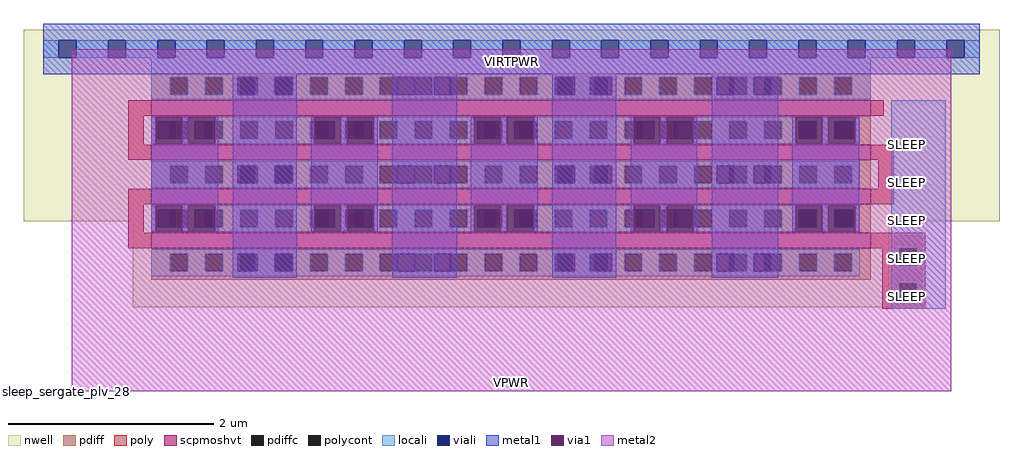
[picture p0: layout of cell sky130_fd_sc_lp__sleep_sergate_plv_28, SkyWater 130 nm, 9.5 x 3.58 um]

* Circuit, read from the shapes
.subckt sky130_fd_sc_lp__sleep_sergate_plv_28 VIRTPWR VPWR SLEEP VPB
XM1 VPWR SLEEP VIRTPWR VPB sky130_fd_pr__pfet_01v8_hvt w=7 l=0.15 m=4
.ends

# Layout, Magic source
magic
tech sky130A
magscale 1 2
<< nwell >>
rect -38 331 1862 704
rect 175 163 1647 331
<< scpmoshvt >>
rect 211 536 1611 566
rect 211 450 1611 480
rect 211 364 1611 394
rect 211 278 1611 308
<< pdiff >>
rect 211 611 1611 619
rect 211 577 248 611
rect 282 577 316 611
rect 350 577 384 611
rect 418 577 452 611
rect 486 577 520 611
rect 554 577 588 611
rect 622 577 656 611
rect 690 577 724 611
rect 758 577 792 611
rect 826 577 860 611
rect 894 577 928 611
rect 962 577 996 611
rect 1030 577 1064 611
rect 1098 577 1132 611
rect 1166 577 1200 611
rect 1234 577 1268 611
rect 1302 577 1336 611
rect 1370 577 1404 611
rect 1438 577 1472 611
rect 1506 577 1540 611
rect 1574 577 1611 611
rect 211 566 1611 577
rect 211 525 1611 536
rect 211 491 248 525
rect 282 491 316 525
rect 350 491 384 525
rect 418 491 452 525
rect 486 491 520 525
rect 554 491 588 525
rect 622 491 656 525
rect 690 491 724 525
rect 758 491 792 525
rect 826 491 860 525
rect 894 491 928 525
rect 962 491 996 525
rect 1030 491 1064 525
rect 1098 491 1132 525
rect 1166 491 1200 525
rect 1234 491 1268 525
rect 1302 491 1336 525
rect 1370 491 1404 525
rect 1438 491 1472 525
rect 1506 491 1540 525
rect 1574 491 1611 525
rect 211 480 1611 491
rect 211 439 1611 450
rect 211 405 248 439
rect 282 405 316 439
rect 350 405 384 439
rect 418 405 452 439
rect 486 405 520 439
rect 554 405 588 439
rect 622 405 656 439
rect 690 405 724 439
rect 758 405 792 439
rect 826 405 860 439
rect 894 405 928 439
rect 962 405 996 439
rect 1030 405 1064 439
rect 1098 405 1132 439
rect 1166 405 1200 439
rect 1234 405 1268 439
rect 1302 405 1336 439
rect 1370 405 1404 439
rect 1438 405 1472 439
rect 1506 405 1540 439
rect 1574 405 1611 439
rect 211 394 1611 405
rect 211 353 1611 364
rect 211 319 248 353
rect 282 319 316 353
rect 350 319 384 353
rect 418 319 452 353
rect 486 319 520 353
rect 554 319 588 353
rect 622 319 656 353
rect 690 319 724 353
rect 758 319 792 353
rect 826 319 860 353
rect 894 319 928 353
rect 962 319 996 353
rect 1030 319 1064 353
rect 1098 319 1132 353
rect 1166 319 1200 353
rect 1234 319 1268 353
rect 1302 319 1336 353
rect 1370 319 1404 353
rect 1438 319 1472 353
rect 1506 319 1540 353
rect 1574 319 1611 353
rect 211 308 1611 319
rect 211 267 1611 278
rect 211 233 248 267
rect 282 233 316 267
rect 350 233 384 267
rect 418 233 452 267
rect 486 233 520 267
rect 554 233 588 267
rect 622 233 656 267
rect 690 233 724 267
rect 758 233 792 267
rect 826 233 860 267
rect 894 233 928 267
rect 962 233 996 267
rect 1030 233 1064 267
rect 1098 233 1132 267
rect 1166 233 1200 267
rect 1234 233 1268 267
rect 1302 233 1336 267
rect 1370 233 1404 267
rect 1438 233 1472 267
rect 1506 233 1540 267
rect 1574 233 1611 267
rect 211 217 1611 233
<< pdiffc >>
rect 248 577 282 611
rect 316 577 350 611
rect 384 577 418 611
rect 452 577 486 611
rect 520 577 554 611
rect 588 577 622 611
rect 656 577 690 611
rect 724 577 758 611
rect 792 577 826 611
rect 860 577 894 611
rect 928 577 962 611
rect 996 577 1030 611
rect 1064 577 1098 611
rect 1132 577 1166 611
rect 1200 577 1234 611
rect 1268 577 1302 611
rect 1336 577 1370 611
rect 1404 577 1438 611
rect 1472 577 1506 611
rect 1540 577 1574 611
rect 248 491 282 525
rect 316 491 350 525
rect 384 491 418 525
rect 452 491 486 525
rect 520 491 554 525
rect 588 491 622 525
rect 656 491 690 525
rect 724 491 758 525
rect 792 491 826 525
rect 860 491 894 525
rect 928 491 962 525
rect 996 491 1030 525
rect 1064 491 1098 525
rect 1132 491 1166 525
rect 1200 491 1234 525
rect 1268 491 1302 525
rect 1336 491 1370 525
rect 1404 491 1438 525
rect 1472 491 1506 525
rect 1540 491 1574 525
rect 248 405 282 439
rect 316 405 350 439
rect 384 405 418 439
rect 452 405 486 439
rect 520 405 554 439
rect 588 405 622 439
rect 656 405 690 439
rect 724 405 758 439
rect 792 405 826 439
rect 860 405 894 439
rect 928 405 962 439
rect 996 405 1030 439
rect 1064 405 1098 439
rect 1132 405 1166 439
rect 1200 405 1234 439
rect 1268 405 1302 439
rect 1336 405 1370 439
rect 1404 405 1438 439
rect 1472 405 1506 439
rect 1540 405 1574 439
rect 248 319 282 353
rect 316 319 350 353
rect 384 319 418 353
rect 452 319 486 353
rect 520 319 554 353
rect 588 319 622 353
rect 656 319 690 353
rect 724 319 758 353
rect 792 319 826 353
rect 860 319 894 353
rect 928 319 962 353
rect 996 319 1030 353
rect 1064 319 1098 353
rect 1132 319 1166 353
rect 1200 319 1234 353
rect 1268 319 1302 353
rect 1336 319 1370 353
rect 1404 319 1438 353
rect 1472 319 1506 353
rect 1540 319 1574 353
rect 248 233 282 267
rect 316 233 350 267
rect 384 233 418 267
rect 452 233 486 267
rect 520 233 554 267
rect 588 233 622 267
rect 656 233 690 267
rect 724 233 758 267
rect 792 233 826 267
rect 860 233 894 267
rect 928 233 962 267
rect 996 233 1030 267
rect 1064 233 1098 267
rect 1132 233 1166 267
rect 1200 233 1234 267
rect 1268 233 1302 267
rect 1336 233 1370 267
rect 1404 233 1438 267
rect 1472 233 1506 267
rect 1540 233 1574 267
<< poly >>
rect 166 536 211 566
rect 1611 536 1637 566
rect 166 480 196 536
rect 166 450 211 480
rect 1611 450 1656 480
rect 1626 394 1656 450
rect 166 364 211 394
rect 1611 364 1656 394
rect 166 308 196 364
rect 166 278 211 308
rect 1611 278 1717 308
rect 1634 244 1667 278
rect 1701 244 1717 278
rect 1634 210 1717 244
rect 1634 176 1667 210
rect 1701 176 1717 210
rect 1634 160 1717 176
<< polycont >>
rect 1667 244 1701 278
rect 1667 176 1701 210
<< locali >>
rect 0 649 31 683
rect 65 649 127 683
rect 161 649 223 683
rect 257 649 319 683
rect 353 649 415 683
rect 449 649 511 683
rect 545 649 607 683
rect 641 649 703 683
rect 737 649 799 683
rect 833 649 895 683
rect 929 649 991 683
rect 1025 649 1087 683
rect 1121 649 1183 683
rect 1217 649 1279 683
rect 1313 649 1375 683
rect 1409 649 1471 683
rect 1505 649 1567 683
rect 1601 649 1663 683
rect 1697 649 1759 683
rect 1793 649 1824 683
rect 211 611 1611 649
rect 211 577 248 611
rect 282 577 316 611
rect 350 577 379 611
rect 418 577 451 611
rect 486 577 520 611
rect 554 577 588 611
rect 622 577 656 611
rect 758 577 762 611
rect 826 577 860 611
rect 894 577 928 611
rect 962 577 996 611
rect 1035 577 1064 611
rect 1107 577 1132 611
rect 1166 577 1200 611
rect 1234 577 1268 611
rect 1302 577 1312 611
rect 1370 577 1384 611
rect 1438 577 1472 611
rect 1506 577 1540 611
rect 1574 577 1611 611
rect 211 568 1611 577
rect 211 525 1590 534
rect 211 491 223 525
rect 282 491 295 525
rect 350 491 384 525
rect 418 491 452 525
rect 486 491 520 525
rect 568 491 588 525
rect 640 491 656 525
rect 690 491 724 525
rect 758 491 792 525
rect 826 491 845 525
rect 894 491 917 525
rect 962 491 996 525
rect 1030 491 1064 525
rect 1098 491 1132 525
rect 1190 491 1200 525
rect 1262 491 1268 525
rect 1302 491 1336 525
rect 1370 491 1404 525
rect 1438 491 1471 525
rect 1506 491 1540 525
rect 1577 491 1590 525
rect 211 482 1590 491
rect 211 439 1590 448
rect 211 405 248 439
rect 282 405 316 439
rect 350 405 379 439
rect 418 405 451 439
rect 486 405 520 439
rect 554 405 588 439
rect 622 405 656 439
rect 758 405 762 439
rect 826 405 860 439
rect 894 405 928 439
rect 962 405 996 439
rect 1035 405 1064 439
rect 1107 405 1132 439
rect 1166 405 1200 439
rect 1234 405 1268 439
rect 1302 405 1312 439
rect 1370 405 1384 439
rect 1438 405 1472 439
rect 1506 405 1540 439
rect 1574 405 1590 439
rect 211 396 1590 405
rect 211 353 1590 362
rect 211 319 223 353
rect 282 319 295 353
rect 350 319 384 353
rect 418 319 452 353
rect 486 319 520 353
rect 568 319 588 353
rect 640 319 656 353
rect 690 319 724 353
rect 758 319 792 353
rect 826 319 845 353
rect 894 319 917 353
rect 962 319 996 353
rect 1030 319 1064 353
rect 1098 319 1132 353
rect 1190 319 1200 353
rect 1262 319 1268 353
rect 1302 319 1336 353
rect 1370 319 1404 353
rect 1438 319 1471 353
rect 1506 319 1540 353
rect 1577 319 1590 353
rect 211 310 1590 319
rect 1651 278 1757 566
rect 211 267 1590 276
rect 211 233 248 267
rect 282 233 316 267
rect 350 233 379 267
rect 418 233 451 267
rect 486 233 520 267
rect 554 233 588 267
rect 622 233 656 267
rect 758 233 762 267
rect 826 233 860 267
rect 894 233 928 267
rect 962 233 996 267
rect 1035 233 1064 267
rect 1107 233 1132 267
rect 1166 233 1200 267
rect 1234 233 1268 267
rect 1302 233 1312 267
rect 1370 233 1384 267
rect 1438 233 1472 267
rect 1506 233 1540 267
rect 1574 233 1590 267
rect 211 224 1590 233
rect 1651 244 1667 278
rect 1701 244 1757 278
rect 1651 210 1757 244
rect 1651 176 1667 210
rect 1701 176 1757 210
rect 1651 160 1757 176
<< viali >>
rect 31 649 65 683
rect 127 649 161 683
rect 223 649 257 683
rect 319 649 353 683
rect 415 649 449 683
rect 511 649 545 683
rect 607 649 641 683
rect 703 649 737 683
rect 799 649 833 683
rect 895 649 929 683
rect 991 649 1025 683
rect 1087 649 1121 683
rect 1183 649 1217 683
rect 1279 649 1313 683
rect 1375 649 1409 683
rect 1471 649 1505 683
rect 1567 649 1601 683
rect 1663 649 1697 683
rect 1759 649 1793 683
rect 379 577 384 611
rect 384 577 413 611
rect 451 577 452 611
rect 452 577 485 611
rect 690 577 724 611
rect 762 577 792 611
rect 792 577 796 611
rect 1001 577 1030 611
rect 1030 577 1035 611
rect 1073 577 1098 611
rect 1098 577 1107 611
rect 1312 577 1336 611
rect 1336 577 1346 611
rect 1384 577 1404 611
rect 1404 577 1418 611
rect 223 491 248 525
rect 248 491 257 525
rect 295 491 316 525
rect 316 491 329 525
rect 534 491 554 525
rect 554 491 568 525
rect 606 491 622 525
rect 622 491 640 525
rect 845 491 860 525
rect 860 491 879 525
rect 917 491 928 525
rect 928 491 951 525
rect 1156 491 1166 525
rect 1166 491 1190 525
rect 1228 491 1234 525
rect 1234 491 1262 525
rect 1471 491 1472 525
rect 1472 491 1505 525
rect 1543 491 1574 525
rect 1574 491 1577 525
rect 379 405 384 439
rect 384 405 413 439
rect 451 405 452 439
rect 452 405 485 439
rect 690 405 724 439
rect 762 405 792 439
rect 792 405 796 439
rect 1001 405 1030 439
rect 1030 405 1035 439
rect 1073 405 1098 439
rect 1098 405 1107 439
rect 1312 405 1336 439
rect 1336 405 1346 439
rect 1384 405 1404 439
rect 1404 405 1418 439
rect 223 319 248 353
rect 248 319 257 353
rect 295 319 316 353
rect 316 319 329 353
rect 534 319 554 353
rect 554 319 568 353
rect 606 319 622 353
rect 622 319 640 353
rect 845 319 860 353
rect 860 319 879 353
rect 917 319 928 353
rect 928 319 951 353
rect 1156 319 1166 353
rect 1166 319 1190 353
rect 1228 319 1234 353
rect 1234 319 1262 353
rect 1471 319 1472 353
rect 1472 319 1505 353
rect 1543 319 1574 353
rect 1574 319 1577 353
rect 379 233 384 267
rect 384 233 413 267
rect 451 233 452 267
rect 452 233 485 267
rect 690 233 724 267
rect 762 233 792 267
rect 792 233 796 267
rect 1001 233 1030 267
rect 1030 233 1035 267
rect 1073 233 1098 267
rect 1098 233 1107 267
rect 1312 233 1336 267
rect 1336 233 1346 267
rect 1384 233 1404 267
rect 1404 233 1418 267
<< metal1 >>
rect 0 683 1824 715
rect 0 649 31 683
rect 65 649 127 683
rect 161 649 223 683
rect 257 649 319 683
rect 353 649 415 683
rect 449 649 511 683
rect 545 649 607 683
rect 641 649 703 683
rect 737 649 799 683
rect 833 649 895 683
rect 929 649 991 683
rect 1025 649 1087 683
rect 1121 649 1183 683
rect 1217 649 1279 683
rect 1313 649 1375 683
rect 1409 649 1471 683
rect 1505 649 1567 683
rect 1601 649 1663 683
rect 1697 649 1759 683
rect 1793 649 1824 683
rect 0 617 1824 649
rect 369 611 494 617
rect 369 577 379 611
rect 413 577 451 611
rect 485 577 494 611
rect 211 482 219 534
rect 271 482 283 534
rect 335 482 341 534
rect 211 362 341 482
rect 211 310 219 362
rect 271 310 283 362
rect 335 310 341 362
rect 369 439 494 577
rect 680 611 805 617
rect 680 577 690 611
rect 724 577 762 611
rect 796 577 805 611
rect 369 405 379 439
rect 413 405 451 439
rect 485 405 494 439
rect 369 267 494 405
rect 522 482 528 534
rect 580 482 592 534
rect 644 482 652 534
rect 522 362 652 482
rect 522 310 528 362
rect 580 310 592 362
rect 644 310 652 362
rect 680 439 805 577
rect 991 611 1116 617
rect 991 577 1001 611
rect 1035 577 1073 611
rect 1107 577 1116 611
rect 680 405 690 439
rect 724 405 762 439
rect 796 405 805 439
rect 369 233 379 267
rect 413 233 451 267
rect 485 233 494 267
rect 369 221 494 233
rect 680 267 805 405
rect 833 482 839 534
rect 891 482 903 534
rect 955 482 963 534
rect 833 362 963 482
rect 833 310 839 362
rect 891 310 903 362
rect 955 310 963 362
rect 991 439 1116 577
rect 1302 611 1431 617
rect 1302 577 1312 611
rect 1346 577 1384 611
rect 1418 577 1431 611
rect 991 405 1001 439
rect 1035 405 1073 439
rect 1107 405 1116 439
rect 680 233 690 267
rect 724 233 762 267
rect 796 233 805 267
rect 680 221 805 233
rect 991 267 1116 405
rect 1144 482 1150 534
rect 1202 482 1214 534
rect 1266 482 1274 534
rect 1144 362 1274 482
rect 1144 310 1150 362
rect 1202 310 1214 362
rect 1266 310 1274 362
rect 1302 439 1431 577
rect 1302 405 1312 439
rect 1346 405 1384 439
rect 1418 405 1431 439
rect 991 233 1001 267
rect 1035 233 1073 267
rect 1107 233 1116 267
rect 991 221 1116 233
rect 1302 267 1431 405
rect 1459 482 1465 534
rect 1517 482 1529 534
rect 1581 482 1589 534
rect 1459 362 1589 482
rect 1459 310 1465 362
rect 1517 310 1529 362
rect 1581 310 1589 362
rect 1302 233 1312 267
rect 1346 233 1384 267
rect 1418 233 1431 267
rect 1302 221 1431 233
<< via1 >>
rect 219 525 271 534
rect 219 491 223 525
rect 223 491 257 525
rect 257 491 271 525
rect 219 482 271 491
rect 283 525 335 534
rect 283 491 295 525
rect 295 491 329 525
rect 329 491 335 525
rect 283 482 335 491
rect 219 353 271 362
rect 219 319 223 353
rect 223 319 257 353
rect 257 319 271 353
rect 219 310 271 319
rect 283 353 335 362
rect 283 319 295 353
rect 295 319 329 353
rect 329 319 335 353
rect 283 310 335 319
rect 528 525 580 534
rect 528 491 534 525
rect 534 491 568 525
rect 568 491 580 525
rect 528 482 580 491
rect 592 525 644 534
rect 592 491 606 525
rect 606 491 640 525
rect 640 491 644 525
rect 592 482 644 491
rect 528 353 580 362
rect 528 319 534 353
rect 534 319 568 353
rect 568 319 580 353
rect 528 310 580 319
rect 592 353 644 362
rect 592 319 606 353
rect 606 319 640 353
rect 640 319 644 353
rect 592 310 644 319
rect 839 525 891 534
rect 839 491 845 525
rect 845 491 879 525
rect 879 491 891 525
rect 839 482 891 491
rect 903 525 955 534
rect 903 491 917 525
rect 917 491 951 525
rect 951 491 955 525
rect 903 482 955 491
rect 839 353 891 362
rect 839 319 845 353
rect 845 319 879 353
rect 879 319 891 353
rect 839 310 891 319
rect 903 353 955 362
rect 903 319 917 353
rect 917 319 951 353
rect 951 319 955 353
rect 903 310 955 319
rect 1150 525 1202 534
rect 1150 491 1156 525
rect 1156 491 1190 525
rect 1190 491 1202 525
rect 1150 482 1202 491
rect 1214 525 1266 534
rect 1214 491 1228 525
rect 1228 491 1262 525
rect 1262 491 1266 525
rect 1214 482 1266 491
rect 1150 353 1202 362
rect 1150 319 1156 353
rect 1156 319 1190 353
rect 1190 319 1202 353
rect 1150 310 1202 319
rect 1214 353 1266 362
rect 1214 319 1228 353
rect 1228 319 1262 353
rect 1262 319 1266 353
rect 1214 310 1266 319
rect 1465 525 1517 534
rect 1465 491 1471 525
rect 1471 491 1505 525
rect 1505 491 1517 525
rect 1465 482 1517 491
rect 1529 525 1581 534
rect 1529 491 1543 525
rect 1543 491 1577 525
rect 1577 491 1581 525
rect 1529 482 1581 491
rect 1465 353 1517 362
rect 1465 319 1471 353
rect 1471 319 1505 353
rect 1505 319 1517 353
rect 1465 310 1517 319
rect 1529 353 1581 362
rect 1529 319 1543 353
rect 1543 319 1577 353
rect 1577 319 1581 353
rect 1529 310 1581 319
<< metal2 >>
rect 56 534 1768 666
rect 56 482 219 534
rect 271 482 283 534
rect 335 482 528 534
rect 580 482 592 534
rect 644 482 839 534
rect 891 482 903 534
rect 955 482 1150 534
rect 1202 482 1214 534
rect 1266 482 1465 534
rect 1517 482 1529 534
rect 1581 482 1768 534
rect 56 362 1768 482
rect 56 310 219 362
rect 271 310 283 362
rect 335 310 528 362
rect 580 310 592 362
rect 644 310 839 362
rect 891 310 903 362
rect 955 310 1150 362
rect 1202 310 1214 362
rect 1266 310 1465 362
rect 1517 310 1529 362
rect 1581 310 1768 362
rect 56 0 1768 310
<< labels >>
flabel metal1 s 0 617 1824 666 0 FreeSans 200 0 0 0 VIRTPWR
port 1 nsew
flabel metal2 s 56 0 1768 34 0 FreeSans 200 0 0 0 VPWR
port 2 nsew power default
flabel locali s 1663 168 1697 202 0 FreeSans 200 0 0 0 SLEEP
port 3 nsew
flabel locali s 1663 242 1697 276 0 FreeSans 200 0 0 0 SLEEP
port 3 nsew
flabel locali s 1663 316 1697 350 0 FreeSans 200 0 0 0 SLEEP
port 3 nsew
flabel locali s 1663 390 1697 424 0 FreeSans 200 0 0 0 SLEEP
port 3 nsew
flabel locali s 1663 464 1697 498 0 FreeSans 200 0 0 0 SLEEP
port 3 nsew
flabel nwell s 0 617 1824 666 0 FreeSans 200 0 0 0 VPB
port 4 nsew
rlabel comment s 0 0 0 0 4 sleep_sergate_plv_28
<< properties >>
string LEFclass BLOCK
string FIXED_BBOX 0 0 1824 666
string GDS_FILE $PDKPATH/libs.ref/sky130_fd_sc_lp/gds/sky130_fd_sc_lp.gds
string GDS_END 2872792
string GDS_START 2855552
<< end >>
